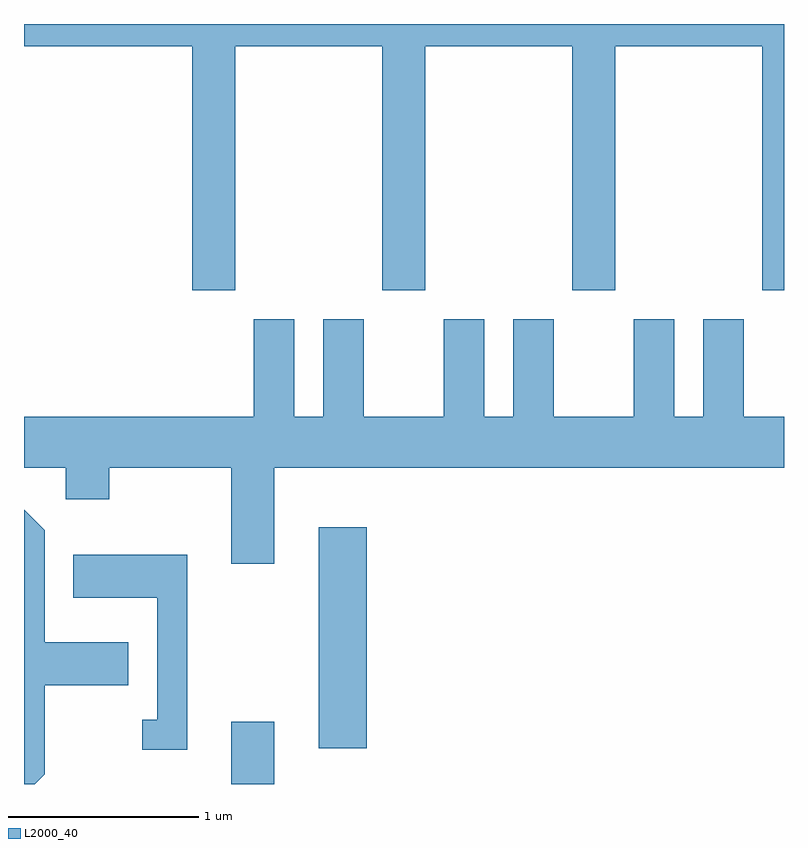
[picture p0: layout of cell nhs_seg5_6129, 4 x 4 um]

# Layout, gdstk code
import gdstk
lib = gdstk.Library(unit=1e-6, precision=1e-09)
def R(c, l, rs):  # rectangles x0, y0, x1, y1
    for r in rs: c.add(gdstk.rectangle(r[:2], r[2:], *l))
def P(c, l, *ps):  # polygons
    for p in ps: c.add(gdstk.Polygon(p, *l))
L2000_40 = (2000, 40)

nhs_seg5_6129 = lib.new_cell('nhs_seg5_6129')
R(nhs_seg5_6129, L2000_40, [(368.701,1404.072,368.929,1404.399), (369.161,1404.261,369.414,1405.424)])
P(nhs_seg5_6129, L2000_40, [(368.724,1407.956),(369.496,1407.956),(369.496,1406.671),(369.724,1406.671),(369.724,1407.956),(370.496,1407.956),(370.496,1406.671),(370.724,1406.671),(370.724,1407.956),(371.496,1407.956),(371.496,1406.671),(371.611,1406.671),(371.611,1408.072),(367.611,1408.072),(367.611,1407.956),(368.496,1407.956),(368.496,1406.671),(368.724,1406.671)],
  [(368.929,1405.736),(371.611,1405.736),(371.611,1406.004),(371.399,1406.004),(371.399,1406.519),(371.186,1406.519),(371.186,1406.004),(371.034,1406.004),(371.034,1406.519),(370.821,1406.519),(370.821,1406.004),(370.399,1406.004),(370.399,1406.519),(370.186,1406.519),(370.186,1406.004),(370.034,1406.004),(370.034,1406.519),(369.821,1406.519),(369.821,1406.004),(369.399,1406.004),(369.399,1406.519),(369.186,1406.519),(369.186,1406.004),(369.034,1406.004),(369.034,1406.519),(368.821,1406.519),(368.821,1406.004),(367.611,1406.004),(367.611,1405.736),(367.831,1405.736),(367.831,1405.571),(368.059,1405.571),(368.059,1405.736),(368.701,1405.736),(368.701,1405.231),(368.929,1405.231)],
  [(367.719,1404.124),(367.719,1404.591),(368.159,1404.591),(368.159,1404.819),(367.719,1404.819),(367.719,1405.407),(367.611,1405.515),(367.611,1404.072),(367.667,1404.072)],
  [(368.469,1405.279),(367.871,1405.279),(367.871,1405.051),(368.311,1405.051),(368.311,1404.409),(368.233,1404.409),(368.233,1404.251),(368.469,1404.251)])

lib.write_gds('nhs_seg5_6129.gds')
